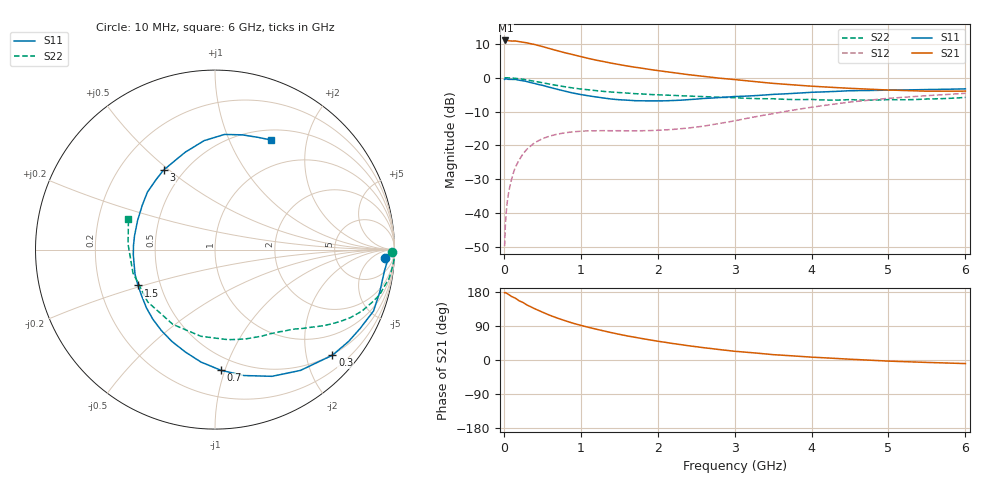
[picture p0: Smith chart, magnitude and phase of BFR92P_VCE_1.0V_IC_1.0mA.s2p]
! Infineon Technologies  Discrete & RF Semiconductors
! BFR92P
! VCE =  1.0 V,  IC =  1.0 mA
! Common Emitter S-Parameters:  Apr 2014
# GHz  S  MA  R  50
!  f  S11  S21  S12  S22
! GHz  MAG  ANG  MAG  ANG  MAG  ANG  MAG  ANG
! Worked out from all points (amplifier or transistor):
!   77 points, 10 MHz to 6 GHz, reference 50 ohm
!   highest |S21| = 11.1 dB at 20 MHz (marker M1)
!   |S21| within 3 dB of that: start of sweep to 688.9 MHz
!   unconditionally stable (mu >= 1): 1.611 GHz to 3.628 GHz
!   at 130 MHz: K = 0.09, MSG = 19.3 dB, |S12| = -27.8 dB
!   at 2.2 GHz: K = 1.20, MAG = 5.7 dB, |S12| = -15.3 dB
!   at 6 GHz: K = 0.98, MSG = 0.3 dB, |S12| = -4.6 dB
!   S11 on the Smith chart (normalised r, x): 10 MHz: 19, -18; 300 MHz: 0.48, -2.52; 700 MHz: 0.39, -0.97; 1.5 GHz: 0.37, -0.19; 3 GHz: 0.39, +0.48; 6 GHz: 0.62, +1.44
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0.01  0.9469 -3.0  3.494 177.6  0.0032 89.8  0.9853 -0.8
0.02  0.9757 -0.9  3.574 178.0  0.0066 88.1  1 -1.4
0.03  0.9664 -2.9  3.572 176.8  0.0098 86.9  1 -2.0
0.05  0.9515 -7.1  3.571 174.5  0.0162 85.9  0.9995 -3.1
0.11  0.9467 -15.8  3.501 166.8  0.0343 78.9  0.9893 -7.0
0.15  0.9471 -21.2  3.512 163.1  0.0473 77.6  0.9829 -9.5
0.2  0.9203 -28.5  3.434 156.1  0.0609 72.4  0.9647 -12.4
0.3  0.88 -42.0  3.294 145.2  0.0873 64.6  0.9283 -18.0
0.4  0.8246 -54.7  3.118 135.3  0.1089 57.8  0.8878 -22.7
0.5  0.774 -65.8  2.907 126.4  0.1252 51.9  0.8452 -26.6
0.7  0.6736 -87.1  2.51 110.3  0.1467 42.5  0.7677 -32.7
0.9  0.5938 -106.2  2.201 97.0  0.1583 36.2  0.706 -37.5
1.1  0.5408 -123.6  1.936 86.2  0.1637 32.0  0.6638 -41.3
1.5  0.4732 -155.0  1.571 67.8  0.1644 29.4  0.6038 -48.2
1.8  0.456 -176.4  1.384 56.5  0.1644 31.2  0.5753 -53.5
2.1  0.4557 165.0  1.235 46.6  0.1692 35.5  0.5539 -59.2
2.4  0.4743 148.8  1.113 37.6  0.1804 40.4  0.536 -65.9
3  0.5279 122.9  0.941 23.0  0.23 47.3  0.507 -81.8
3.1  0.5324 119.5  0.917 21.4  0.2429 47.2  0.4999 -85.2
4.1  0.6151 93.5  0.74 6.5  0.38 41.6  0.4716 -123.9
5.1  0.6586 75.2  0.654 -3.6  0.5053 26.4  0.4728 -168.1
6  0.6852 63.1  0.635 -9.4  0.5894 12.1  0.512 160.4
